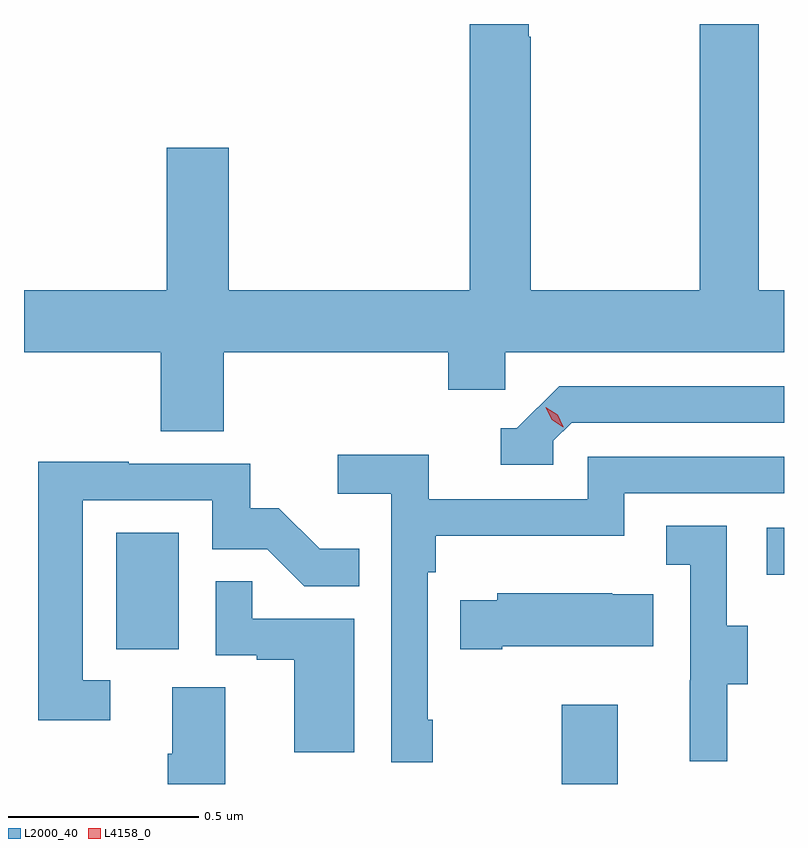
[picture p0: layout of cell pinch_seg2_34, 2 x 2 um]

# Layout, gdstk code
import gdstk
lib = gdstk.Library(unit=1e-6, precision=1e-09)
def R(c, l, rs):  # rectangles x0, y0, x1, y1
    for r in rs: c.add(gdstk.rectangle(r[:2], r[2:], *l))
def P(c, l, *ps):  # polygons
    for p in ps: c.add(gdstk.Polygon(p, *l))
L2000_40 = (2000, 40)
L4158_0 = (4158, 0)

pinch_seg2_34 = lib.new_cell('pinch_seg2_34')
R(pinch_seg2_34, L2000_40, [(1143.07,651.828,1143.217,652.036), (1141.898,652.182,1142.062,652.489), (1143.609,652.379,1143.655,652.503)])
P(pinch_seg2_34, L2000_40, [(1142.18,652.964),(1142.771,652.964),(1142.771,652.866),(1142.922,652.866),(1142.922,652.964),(1143.655,652.964),(1143.655,653.128),(1143.588,653.128),(1143.588,653.828),(1143.433,653.828),(1143.433,653.128),(1142.988,653.128),(1142.988,653.795),(1142.983,653.795),(1142.983,653.828),(1142.828,653.828),(1142.828,653.128),(1142.194,653.128),(1142.194,653.503),(1142.03,653.503),(1142.03,653.128),(1141.655,653.128),(1141.655,652.964),(1142.015,652.964),(1142.015,652.756),(1142.18,652.756)],
  [(1143.048,652.731),(1143.096,652.779),(1143.655,652.779),(1143.655,652.875),(1143.063,652.875),(1142.952,652.764),(1142.909,652.764),(1142.909,652.668),(1143.048,652.668)],
  [(1142.731,651.997),(1142.718,651.997),(1142.718,652.385),(1142.738,652.385),(1142.738,652.481),(1143.234,652.481),(1143.234,652.593),(1143.655,652.593),(1143.655,652.689),(1143.138,652.689),(1143.138,652.578),(1142.72,652.578),(1142.72,652.694),(1142.481,652.694),(1142.481,652.592),(1142.622,652.592),(1142.622,651.885),(1142.731,651.885)],
  [(1141.882,652.101),(1141.809,652.101),(1141.809,652.575),(1142.151,652.575),(1142.151,652.446),(1142.295,652.446),(1142.393,652.348),(1142.537,652.348),(1142.537,652.447),(1142.433,652.447),(1142.326,652.554),(1142.25,652.554),(1142.25,652.671),(1141.931,652.671),(1141.931,652.676),(1141.693,652.676),(1141.693,651.996),(1141.882,651.996)],
  [(1143.505,652.09),(1143.559,652.09),(1143.559,652.245),(1143.504,652.245),(1143.504,652.508),(1143.345,652.508),(1143.345,652.405),(1143.408,652.405),(1143.408,652.101),(1143.407,652.101),(1143.407,651.888),(1143.505,651.888)],
  [(1142.524,652.263),(1142.255,652.263),(1142.255,652.361),(1142.16,652.361),(1142.16,652.167),(1142.267,652.167),(1142.267,652.155),(1142.366,652.155),(1142.366,651.912),(1142.524,651.912)],
  [(1142.914,652.19),(1143.311,652.19),(1143.311,652.327),(1143.203,652.327),(1143.203,652.33),(1142.901,652.33),(1142.901,652.312),(1142.803,652.312),(1142.803,652.183),(1142.914,652.183)],
  [(1142.185,652.082),(1142.045,652.082),(1142.045,651.908),(1142.033,651.908),(1142.033,651.828),(1142.185,651.828)])
P(pinch_seg2_34, L4158_0, [(1143.074,652.767),(1143.044,652.787),(1143.028,652.819),(1143.028,652.82),(1143.028,652.82),(1143.059,652.8),(1143.074,652.768),(1143.074,652.767)])

lib.write_gds('pinch_seg2_34.gds')
